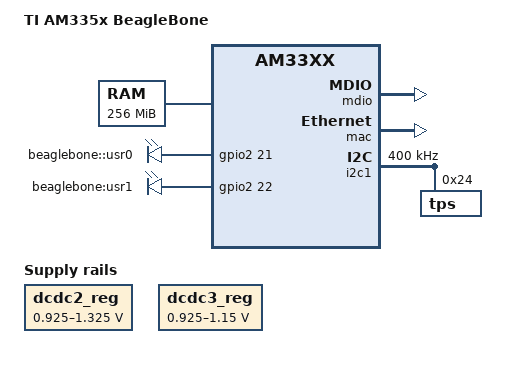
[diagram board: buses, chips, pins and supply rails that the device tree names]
/*
 * Copyright (C) 2012 Texas Instruments Incorporated - http://www.ti.com/
 *
 * This program is free software; you can redistribute it and/or modify
 * it under the terms of the GNU General Public License version 2 as
 * published by the Free Software Foundation.
 */
/dts-v1/;

/include/ "am33xx.dtsi"

/ {
	model = "TI AM335x BeagleBone";
	compatible = "ti,am335x-bone", "ti,am33xx";

	memory {
		device_type = "memory";
		reg = <0x80000000 0x10000000>; /* 256 MB */
	};

	leds {
		compatible = "gpio-leds";
		heartbeat {
			label = "beaglebone::usr0";
			gpios = <&gpio2 21 0>;
			linux,default-trigger = "heartbeat";
		};

		mmc {
			label = "beaglebone:usr1";
			gpios = <&gpio2 22 0>;
			linux,default-trigger = "mmc0";
		};
	};

	mdio: davinci_mdio@4a101000 {
		compatible = "ti,davinci-mdio";
		ti,hwmods = "davinci_mdio";
	};

	mac: ethernet@4A100000 {
		compatible = "ti,cpsw";
		ti,hwmods = "cpgmac0";
		cpdma_channels = <8>;
		host_port_no = <0>;
		cpdma_reg_ofs = <0x800>;
		cpdma_sram_ofs = <0xa00>;
		ale_reg_ofs = <0xd00>;
		ale_entries = <1024>;
		host_port_reg_ofs = <0x108>;
		hw_stats_reg_ofs = <0x900>;
		bd_ram_ofs = <0x2000>;
		bd_ram_size = <0x2000>;
		no_bd_ram = <0>;
		rx_descs = <64>;
		mac_control = <0x20>;
		slaves = <1>;
		slave@0 {
			slave_reg_ofs = <0x208>;
			sliver_reg_ofs = <0xd80>;
			phy_id = "davinci_mdio.21-:00";
			mac-address = [00 04 9F 01 1B B8];
		};
	};
};



&i2c1 {
	clock-frequency = <400000>;

	tps: tps@24 {
		reg = <0x24>;
	};
};

/include/ "tps65217.dtsi"

&am3358_pinmux {

	pinctrl-names = "default";
	pinctrl-0 = <&userled_pins>;

	userled_pins: pinmux_userled_pins {
		pinctrl-single,pins = <
			0x54 0x7	/* gpmc_a5.gpio1_21, OMAP_PIN_OUTPUT | OMAP_MUX_MODE7 */
			0x58 0x17	/* gpmc_a6.gpio1_22, OMAP_PIN_OUTPUT_PULLUP | OMAP_MUX_MODE7 */
			0x5C 0x7	/* gpmc_a7.gpio1_23, OMAP_PIN_OUTPUT | OMAP_MUX_MODE7 */
			0x60 0x17	/* gpmc_a8.gpio1_24, OMAP_PIN_OUTPUT_PULLUP | OMAP_MUX_MODE7 */
		>;
	};
};

&dcdc2_reg {
	/* VDD_MPU voltage limits 0.95V - 1.26V with +/-4% tolerance */
	regulator-name = "vdd_mpu";
	regulator-min-microvolt = <925000>;
	regulator-max-microvolt = <1325000>;
	regulator-boot-on;
	regulator-always-on;
};

&dcdc3_reg {
	/* VDD_CORE voltage limits 0.95V - 1.1V with +/-4% tolerance */
	regulator-name = "vdd_core";
	regulator-min-microvolt = <925000>;
	regulator-max-microvolt = <1150000>;
	regulator-boot-on;
	regulator-always-on;
};
